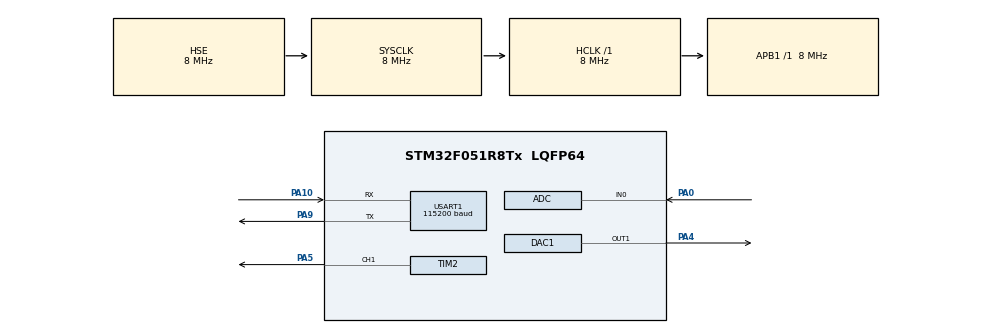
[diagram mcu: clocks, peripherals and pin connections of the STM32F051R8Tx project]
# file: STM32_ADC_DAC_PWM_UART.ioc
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ADC.ClockPrescaler=ADC_CLOCK_ASYNC_DIV1
ADC.ContinuousConvMode=DISABLE
ADC.DMAContinuousRequests=ENABLE
ADC.DataAlign=ADC_DATAALIGN_RIGHT
ADC.EnableAnalogWatchDog=false
ADC.ExternalTrigConv=ADC_EXTERNALTRIGCONV_T1_TRGO
DAC1.DAC_Trigger=DAC_TRIGGER_T2_TRGO
Dma.ADC.0.Direction=DMA_PERIPH_TO_MEMORY
Dma.ADC.0.Instance=DMA1_Channel1
Dma.ADC.0.MemDataAlignment=DMA_MDATAALIGN_HALFWORD
Dma.ADC.0.MemInc=DMA_MINC_ENABLE
Dma.ADC.0.Mode=DMA_CIRCULAR
Dma.ADC.0.PeriphDataAlignment=DMA_PDATAALIGN_HALFWORD
Dma.ADC.0.PeriphInc=DMA_PINC_DISABLE
Dma.ADC.0.Priority=DMA_PRIORITY_HIGH
Dma.Request0=ADC
Dma.Request1=USART1_TX
Dma.USART1_TX.1.Direction=DMA_MEMORY_TO_PERIPH
Dma.USART1_TX.1.Instance=DMA1_Channel2
Dma.USART1_TX.1.MemDataAlignment=DMA_MDATAALIGN_BYTE
Dma.USART1_TX.1.MemInc=DMA_MINC_ENABLE
Dma.USART1_TX.1.Mode=DMA_NORMAL
Dma.USART1_TX.1.PeriphDataAlignment=DMA_PDATAALIGN_BYTE
Dma.USART1_TX.1.PeriphInc=DMA_PINC_DISABLE
Dma.USART1_TX.1.Priority=DMA_PRIORITY_LOW
Mcu.Family=STM32F0
Mcu.Name=STM32F051R8Tx
Mcu.Package=LQFP64
NVIC.DMA1_Channel1_IRQn=true\:0\:0\:false\:false\:true\:false\:true
NVIC.DMA1_Channel2_3_IRQn=true\:0\:0\:false\:false\:true\:false\:true
PA0.Mode=IN0
PA0.Signal=ADC_IN0
PA10.Mode=Asynchronous
PA10.Signal=USART1_RX
PA4.Signal=COMP_DAC11_group
PA5.Signal=S_TIM2_CH1_ETR
PA9.Mode=Asynchronous
PA9.Signal=USART1_TX
PF0-OSC_IN.Mode=HSE-External-Clock-Source
PF0-OSC_IN.Signal=RCC_OSC_IN
ProjectManager.HeapSize=0x200
ProjectManager.StackSize=0x400
ProjectManager.TargetToolchain=MDK-ARM V5.27
RCC.AHBFreq_Value=8000000
RCC.APB1Freq_Value=8000000
RCC.APB1TimFreq_Value=8000000
RCC.HCLKFreq_Value=8000000
RCC.PLLSourceVirtual=RCC_PLLSOURCE_HSE
RCC.SYSCLKFreq_VALUE=8000000
RCC.SYSCLKSource=RCC_SYSCLKSOURCE_HSE
SH.COMP_DAC11_group.0=DAC1_OUT1,DAC_OUT1
SH.S_TIM2_CH1_ETR.0=TIM2_CH1,PWM Generation1 CH1
TIM1.Period=799
TIM1.TIM_MasterOutputTrigger=TIM_TRGO_UPDATE
TIM2.Channel-PWM\ Generation1\ CH1=TIM_CHANNEL_1
TIM2.ClockDivision=TIM_CLOCKDIVISION_DIV1
TIM2.Period=79999
TIM2.Prescaler=0
TIM2.Pulse-PWM\ Generation1\ CH1=0
TIM2.TIM_MasterOutputTrigger=TIM_TRGO_UPDATE
USART1.BaudRate=115200
USART1.Mode=MODE_TX
USART1.VirtualMode-Asynchronous=VM_ASYNC
VP_TIM1_VS_ClockSourceINT.Mode=Internal
board=custom

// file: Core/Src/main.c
/* USER CODE BEGIN Header */
/**
  ******************************************************************************
  * @file           : main.c
  * @brief          : <h2><center>Основная программа</center></h2>
  ******************************************************************************
  *
  *
  ******************************************************************************
  ***************************************************************************
  *                  <h3><center>Общая информация</center></h3>
  *
  * @brief      Работа с АЦП в режиме DMA, ЦАП, PWM сигналом и UART в режиме DMA.
  *
  * @author     Маленков К.С.
  * @version    1.02
  * @date       30.07.2020
  * @warning    Эта программа используется в образовательных целях.
  *
  ****************************************************************************
  ****************************************************************************
  *
  *													<h2><center>Условие задачи</center></h2>
  *
  * Необходимо реализовать чтение значений со входа АЦП с использованием DMA с дискретизацией 10 КГц
  * и установки полученных усреднённых значений на выходе ЦАП и PWM раз в 10млСек.
  * А так же выдаче усреднённых за 1 секунду значений по USART DMA(1)).
  * Полученные значения выводить в мили вольтах, формат представления в ASCII кодах с символом перевода строки на конце
  * (пример: «1500 mV\r»).
  * Дублировать вывод информации по SWD интерфейсу в терминал IDE Keil(2).
  *
	*	1.Вывод в USB (Virtual COM PORT) не реализован из-за отсутствия данной функции в ПО STM32CubeMX и соответственно МК.
	*	 Заменено на USART DMA.
	*	2.Отладка по SWD интерфейсу невозможна из-за того, что компания ST заблокировала её на аппаратном уровне в программе Keil.
	*	****************************************************************************
	*****************************************************************************
	*
  *
	*
  *|		Устройство		|		  Название
	*|  :-------------: | :-----------: 	|
	*|Отладочная плата	|	STM32F0DISCOVERY|
	*|Микроконтроллер		|	STM32F051R8T6		|
  *
	******************************************************************************
  ******************************************************************************
  *
	*													<h2><center>Структура проекта</center></h2>
	*|		Путь											|		  Название файла 						|		Описание файла															|
	*|  :------------- 							| :----------- 									| :--------------------													|
	*|															|	STM32_ADC_DAC_PWM_UART.ioc		|	Проект STM32ClubMX														|
	*|	Core\src										|	main.c 												|	Основная программа														|
	*|	MDK-ARM											|	STM32_ADC_DAC_PWM_UART.uvprojx|	Проект Keil v5																|
	*|	DataSheets									|	STM32F051x4_DataSheet.pdf			|	Справочный материал по микроконтроллеру				|
	*|	^														|	STM32F0DISCOVERY_DataSheet.pdf|	Справочный материал по отладочной плате				|
	*|	Documentation								|	index.html										|	Документация Doxygen в html	формате						|
	*
	*
	*
	*
	*
	*
	*
	*
	*
	*******************************************************************************
  *******************************************************************************
	*											<h2><center>Используемые контакты</center></h2>
  *
	*|		Назначение		|	Номер контакта|					Дополнительная информация				|
	*|  :-------------: | :-----------: | :------------------------------------:  |
	*|				ADC				|			PA0				|							ADC_IN0 (Vref = 3V)***			|
	*|				DAC				|			PA4				|									DAC1_OUT1								|
	*|		PWM_OUTPUT		|			PA5				|									TIM2_CH1								|
	*|		UART_RX				|			PA10			| Baud rate:115200, parity:None  					|
	*|		UART_TX				|			PA9				|						^															|
	*|		OSC_IN				|			PF0				|		 	Внешний источник частоты						|
	*
	* @warning *** ! : Максимальное значение АЦП может быть 3В !
	******************************************************************************
  ******************************************************************************
	*																<h2><center>Параметры счетчиков</center></h2>
	*
	*|Обозначение	таймера	|									Параметры счетчика											|
	*|  :-------------: 	| :----------------------------------------------------:  |
	*|			TIM1					|			Prescaler 0, Counter period 799											|
	*|			TIM2					|			Prescaler	0, Counter period	79999										|
	*
	*
  */
/* USER CODE END Header */
#include "main.h"

/* USER CODE BEGIN Includes */
#include "string.h"
#include "stdio.h"
/* USER CODE END Includes */

/* USER CODE BEGIN PD */
#define SAMPLES_NUMBER	100																									///< Количество преобразований АЦП (частота дискретизации 10кГц, 100 отсчетов = 0.1мс)
/* USER CODE END PD */

ADC_HandleTypeDef hadc;																											///< Переменная для работы с АЦП
DMA_HandleTypeDef hdma_adc;																									///< Переменная для работы с АЦП в режиме DMA

DAC_HandleTypeDef hdac1;																										///< Переменная для работы с ЦАП

TIM_HandleTypeDef htim1;																										///< Переменная для работы с счетчиком #1
TIM_HandleTypeDef htim2;																										///< Переменная для работы с счетчиком #2

UART_HandleTypeDef huart1;																									///< Переменная для работы с UART
DMA_HandleTypeDef hdma_usart1_tx;																						///< Переменная для работы с UART в режиме DMA (в режиме только передача)

/* USER CODE BEGIN PV */
char trans_str[63];																													///< Переменная для хранения текса в формате string для отправки по UART
uint16_t	ADC_to_memory [2*SAMPLES_NUMBER];																	///< Переменная для хранения данных преобразований АЦП
/// Состояние АЦП в режиме DMA
typedef enum {
		NO_INTERRUPT,				///< АЦП в процессе выполнения преобразований
		HALF_INTERRUPT,			///< АЦП выполнил половину преобразований
		FULL_INTERRUPT			///< АЦП выполнил полный цикл преобразований
}
adc_conversion_state_t;			///< Переменная enum

adc_conversion_state_t adc_state; 																						///< Переменная , которая указывает о прерывании АЦП на разных этапах преобразований в режиме DMA
/* USER CODE END PV */

void SystemClock_Config(void);
static void MX_GPIO_Init(void);
static void MX_DMA_Init(void);
static void MX_ADC_Init(void);
static void MX_USART1_UART_Init(void);
static void MX_TIM1_Init(void);
static void MX_DAC1_Init(void);
static void MX_TIM2_Init(void);

/* USER CODE BEGIN 0 */
/**
	* @brief  АЦП выполнил все преобразования и ставит флаг(неблокирующий) об этом действии
	* Когда АЦП выполнил все преобрзования, тогда отправляет об этом окончании в основную программу
	* @param  hadc Обращение к АЦП
  * @retval void
  *
  */
void HAL_ADC_ConvCpltCallback(ADC_HandleTypeDef* hadc)
{
			adc_state = FULL_INTERRUPT;
}
/**
  * @brief  АЦП выполнил половину преобразования и ставит флаг(неблокирующий) об этом действии
  * огда АЦП выполнил половину преобрзований, тогда отправляет об этом окончании в основную программу
  * @param  hadc Обращение к АЦП
  * @retval void
  *
  */
void HAL_ADC_ConvHalfCpltCallback(ADC_HandleTypeDef* hadc)
{
			adc_state = HALF_INTERRUPT;
}
/* USER CODE END 0 */

/**
* @brief  Основная программа:
*					Получает данные о 100 преобразований с АЦП, вычисляет среднее значение  и выдает каждые 10 мс в ЦАП
*					и PWM сигнал, а так же вычисляет среднее значение за 1 c и отправляет данные по UART  порту в режиме DMA
  * @retval int
  */
int main(void)
{
  /* USER CODE BEGIN 1 */
	uint32_t ADC_avg_to_UART		[SAMPLES_NUMBER] = {0,};										//  Массив для хранения усредненный данных за 10 мс.
	uint32_t ADC_avg_value = 0;																							//  Переменная усреденных данных АЦП за 10мс
	uint32_t ADC_Res_avg_to_UART = 0;																				//  Переменная хранения усредненный данных АЦП за 1 секунду для отправки в UART
	int j = 0;																															// 	Общий счетчик для усреденных значний за 10 мс
  /* USER CODE END 1 */

  /* MCU Configuration--------------------------------------------------------*/

  /* Reset of all peripherals, Initializes the Flash interface and the Systick. */
  HAL_Init();

  /* Configure the system clock */
  SystemClock_Config();

  /* Initialize all configured peripherals */
  MX_GPIO_Init();
  MX_DMA_Init();
  MX_ADC_Init();
  MX_USART1_UART_Init();
  MX_TIM1_Init();
  MX_DAC1_Init();
  MX_TIM2_Init();
  /* USER CODE BEGIN 2 */
	HAL_ADCEx_Calibration_Start(&hadc);																			// Калибровка АЦП
	HAL_ADC_Start_DMA(&hadc, (uint32_t*)&ADC_to_memory, 2*SAMPLES_NUMBER);	// АЦП в режиме DMA
	HAL_TIM_Base_Start(&htim1);																							// Счетчик #1 (Частота 10кГц)
	HAL_TIM_Base_Start(&htim2);																							// Счетчик #2 (Для ЦАП и PWM сигнала с частотой = 100 Гц)
	//============================================== TIMER PWM OUTPUT ================================================================/
	HAL_TIM_PWM_Start(&htim2,TIM_CHANNEL_1);																// Счетчик #1 канал 1 как выход PWM

	//============================================== DAC SETTINGS ====================================================================/
	HAL_DAC_Start(&hdac1,DAC_CHANNEL_1);																		// ЦАП канал 1
  /* USER CODE END 2 */

  /* Infinite loop */
  /* USER CODE BEGIN WHILE */
	while(1)
	{
		if (adc_state)
		{
			if (adc_state == HALF_INTERRUPT)																		// Если пришло прерывания с половины преобразований АЦП, вычисляем сумму этих данных
			{
				for (int i = 0; i < SAMPLES_NUMBER; i++)
					ADC_avg_value += ADC_to_memory[i];
			}
			else if (adc_state == FULL_INTERRUPT)																// Если пришло прерывания со всех преобразований АЦП, вычисляем сумму этих данных
			{
				for (int i = SAMPLES_NUMBER; i < 2*SAMPLES_NUMBER; i++)
					ADC_avg_value += ADC_to_memory[i];
			}
			adc_state = NO_INTERRUPT;																						// Сбрасываем прерывания АЦП
			ADC_avg_value /= SAMPLES_NUMBER;																		// Высчитываем среднее значение

			ADC_avg_to_UART[j] = ADC_avg_value; 																// Добавляем среднее значение в массив для будущей отправки в UART за 1 секунду
			if (j == SAMPLES_NUMBER - 1)																				// Если массив для отправки в UART заполнен данными - высчитываем сумму
			{
				for (int i = 0; i < SAMPLES_NUMBER; i++)
				{
				  ADC_Res_avg_to_UART += ADC_avg_to_UART[i];
				}
				ADC_Res_avg_to_UART /= SAMPLES_NUMBER;														//	Высчитываем среднее значение для отправки в UART
				snprintf(trans_str, 63, "%d mV\r\n", ADC_Res_avg_to_UART * 732 / 1000);		//Преобразуем это значение в строковую переменную, проводя данные к новой шкале (максимум 3000 мВ)
				huart1.gState = HAL_UART_STATE_READY;															// Так как UART  работае в DMA  режиме и находится в режиме ожидания, выставляем режим готовности к отправки.
				HAL_UART_Transmit_DMA(&huart1, (uint8_t *)trans_str, strlen(trans_str));		//Отправляем данные по UART  в режиме DMA
				j = 0;																														// 	Обнуляем счетчик
				ADC_Res_avg_to_UART = 0;																					// Обнуляем среднее значение для UART
			}
			j++;
			HAL_DAC_SetValue(&hdac1,DAC_CHANNEL_1, DAC_ALIGN_12B_R, ADC_avg_value);	// Записываем в ЦАП среднее значение за 10мс
			TIM2->CCR1 = ADC_avg_value*80000/4095;															// Записываем в регистр PWM сигнала за 10 мс
			ADC_avg_value = 0;																									// Обнуляем среднее значение за 10мс.
		}

	}
    /* USER CODE END WHILE */

    /* USER CODE BEGIN 3 */
  //}
  /* USER CODE END 3 */
}

/**
* @brief Функция для настройки генератора частоты , PLL и т.д.
  * @retval None
  */
void SystemClock_Config(void)
{
  RCC_OscInitTypeDef RCC_OscInitStruct = {0};
  RCC_ClkInitTypeDef RCC_ClkInitStruct = {0};
  RCC_PeriphCLKInitTypeDef PeriphClkInit = {0};

  RCC_OscInitStruct.OscillatorType = RCC_OSCILLATORTYPE_HSI14|RCC_OSCILLATORTYPE_HSE;
  RCC_OscInitStruct.HSEState = RCC_HSE_BYPASS;
  RCC_OscInitStruct.HSI14State = RCC_HSI14_ON;
  RCC_OscInitStruct.HSI14CalibrationValue = 16;
  RCC_OscInitStruct.PLL.PLLState = RCC_PLL_NONE;
  if (HAL_RCC_OscConfig(&RCC_OscInitStruct) != HAL_OK)
  {
    Error_Handler();
  }
  RCC_ClkInitStruct.ClockType = RCC_CLOCKTYPE_HCLK|RCC_CLOCKTYPE_SYSCLK
                              |RCC_CLOCKTYPE_PCLK1;
  RCC_ClkInitStruct.SYSCLKSource = RCC_SYSCLKSOURCE_HSE;
  RCC_ClkInitStruct.AHBCLKDivider = RCC_SYSCLK_DIV1;
  RCC_ClkInitStruct.APB1CLKDivider = RCC_HCLK_DIV1;

  if (HAL_RCC_ClockConfig(&RCC_ClkInitStruct, FLASH_LATENCY_0) != HAL_OK)
  {
    Error_Handler();
  }
  PeriphClkInit.PeriphClockSelection = RCC_PERIPHCLK_USART1;
  PeriphClkInit.Usart1ClockSelection = RCC_USART1CLKSOURCE_PCLK1;
  if (HAL_RCCEx_PeriphCLKConfig(&PeriphClkInit) != HAL_OK)
  {
    Error_Handler();
  }
}

static void MX_ADC_Init(void)
{

  ADC_ChannelConfTypeDef sConfig = {0};

  /** Configure the global features of the ADC (Clock, Resolution, Data Alignment and number of conversion)
  */
  hadc.Instance = ADC1;
  hadc.Init.ClockPrescaler = ADC_CLOCK_ASYNC_DIV1;
  hadc.Init.Resolution = ADC_RESOLUTION_12B;
  hadc.Init.DataAlign = ADC_DATAALIGN_RIGHT;
  hadc.Init.ScanConvMode = ADC_SCAN_DIRECTION_FORWARD;
  hadc.Init.EOCSelection = ADC_EOC_SINGLE_CONV;
  hadc.Init.LowPowerAutoWait = DISABLE;
  hadc.Init.LowPowerAutoPowerOff = DISABLE;
  hadc.Init.ContinuousConvMode = DISABLE;
  hadc.Init.DiscontinuousConvMode = DISABLE;
  hadc.Init.ExternalTrigConv = ADC_EXTERNALTRIGCONV_T1_TRGO;
  hadc.Init.ExternalTrigConvEdge = ADC_EXTERNALTRIGCONVEDGE_RISING;
  hadc.Init.DMAContinuousRequests = ENABLE;
  hadc.Init.Overrun = ADC_OVR_DATA_PRESERVED;
  if (HAL_ADC_Init(&hadc) != HAL_OK)
  {
    Error_Handler();
  }
  /** Configure for the selected ADC regular channel to be converted.
  */
  sConfig.Channel = ADC_CHANNEL_0;
  sConfig.Rank = ADC_RANK_CHANNEL_NUMBER;
  sConfig.SamplingTime = ADC_SAMPLETIME_1CYCLE_5;
  if (HAL_ADC_ConfigChannel(&hadc, &sConfig) != HAL_OK)
  {
    Error_Handler();
  }

}

static void MX_DAC1_Init(void)
{

  DAC_ChannelConfTypeDef sConfig = {0};

  /** DAC Initialization
  */
  hdac1.Instance = DAC;
  if (HAL_DAC_Init(&hdac1) != HAL_OK)
  {
    Error_Handler();
  }
  /** DAC channel OUT1 config
  */
  sConfig.DAC_Trigger = DAC_TRIGGER_T2_TRGO;
  sConfig.DAC_OutputBuffer = DAC_OUTPUTBUFFER_ENABLE;
  if (HAL_DAC_ConfigChannel(&hdac1, &sConfig, DAC_CHANNEL_1) != HAL_OK)
  {
    Error_Handler();
  }

}

static void MX_TIM1_Init(void)
{

  TIM_ClockConfigTypeDef sClockSourceConfig = {0};
  TIM_MasterConfigTypeDef sMasterConfig = {0};

  htim1.Instance = TIM1;
  htim1.Init.Prescaler = 0;
  htim1.Init.CounterMode = TIM_COUNTERMODE_UP;
  htim1.Init.Period = 799;
  htim1.Init.ClockDivision = TIM_CLOCKDIVISION_DIV1;
  htim1.Init.RepetitionCounter = 0;
  htim1.Init.AutoReloadPreload = TIM_AUTORELOAD_PRELOAD_DISABLE;
  if (HAL_TIM_Base_Init(&htim1) != HAL_OK)
  {
    Error_Handler();
  }
  sClockSourceConfig.ClockSource = TIM_CLOCKSOURCE_INTERNAL;
  if (HAL_TIM_ConfigClockSource(&htim1, &sClockSourceConfig) != HAL_OK)
  {
    Error_Handler();
  }
  sMasterConfig.MasterOutputTrigger = TIM_TRGO_UPDATE;
  sMasterConfig.MasterSlaveMode = TIM_MASTERSLAVEMODE_DISABLE;
  if (HAL_TIMEx_MasterConfigSynchronization(&htim1, &sMasterConfig) != HAL_OK)
  {
    Error_Handler();
  }

}

static void MX_TIM2_Init(void)
{

  TIM_MasterConfigTypeDef sMasterConfig = {0};
  TIM_OC_InitTypeDef sConfigOC = {0};

  htim2.Instance = TIM2;
  htim2.Init.Prescaler = 0;
  htim2.Init.CounterMode = TIM_COUNTERMODE_UP;
  htim2.Init.Period = 79999;
  htim2.Init.ClockDivision = TIM_CLOCKDIVISION_DIV1;
  htim2.Init.AutoReloadPreload = TIM_AUTORELOAD_PRELOAD_DISABLE;
  if (HAL_TIM_PWM_Init(&htim2) != HAL_OK)
  {
    Error_Handler();
  }
  sMasterConfig.MasterOutputTrigger = TIM_TRGO_UPDATE;
  sMasterConfig.MasterSlaveMode = TIM_MASTERSLAVEMODE_DISABLE;
  if (HAL_TIMEx_MasterConfigSynchronization(&htim2, &sMasterConfig) != HAL_OK)
  {
    Error_Handler();
  }
  sConfigOC.OCMode = TIM_OCMODE_PWM1;
  sConfigOC.Pulse = 0;
  sConfigOC.OCPolarity = TIM_OCPOLARITY_HIGH;
  sConfigOC.OCFastMode = TIM_OCFAST_DISABLE;
  if (HAL_TIM_PWM_ConfigChannel(&htim2, &sConfigOC, TIM_CHANNEL_1) != HAL_OK)
  {
    Error_Handler();
  }
  HAL_TIM_MspPostInit(&htim2);

}

static void MX_USART1_UART_Init(void)
{

  huart1.Instance = USART1;
  huart1.Init.BaudRate = 115200;
  huart1.Init.WordLength = UART_WORDLENGTH_8B;
  huart1.Init.StopBits = UART_STOPBITS_1;
  huart1.Init.Parity = UART_PARITY_NONE;
  huart1.Init.Mode = UART_MODE_TX;
  huart1.Init.HwFlowCtl = UART_HWCONTROL_NONE;
  huart1.Init.OverSampling = UART_OVERSAMPLING_16;
  huart1.Init.OneBitSampling = UART_ONE_BIT_SAMPLE_DISABLE;
  huart1.AdvancedInit.AdvFeatureInit = UART_ADVFEATURE_NO_INIT;
  if (HAL_UART_Init(&huart1) != HAL_OK)
  {
    Error_Handler();
  }

}

static void MX_DMA_Init(void)
{

  /* DMA controller clock enable */
  __HAL_RCC_DMA1_CLK_ENABLE();

  /* DMA interrupt init */
  /* DMA1_Channel1_IRQn interrupt configuration */
  HAL_NVIC_SetPriority(DMA1_Channel1_IRQn, 0, 0);
  HAL_NVIC_EnableIRQ(DMA1_Channel1_IRQn);
  /* DMA1_Channel2_3_IRQn interrupt configuration */
  HAL_NVIC_SetPriority(DMA1_Channel2_3_IRQn, 0, 0);
  HAL_NVIC_EnableIRQ(DMA1_Channel2_3_IRQn);

}

static void MX_GPIO_Init(void)
{

  /* GPIO Ports Clock Enable */
  __HAL_RCC_GPIOF_CLK_ENABLE();
  __HAL_RCC_GPIOA_CLK_ENABLE();

}

void Error_Handler(void)
{
}

/************************ (C) COPYRIGHT STMicroelectronics *****END OF FILE****/
